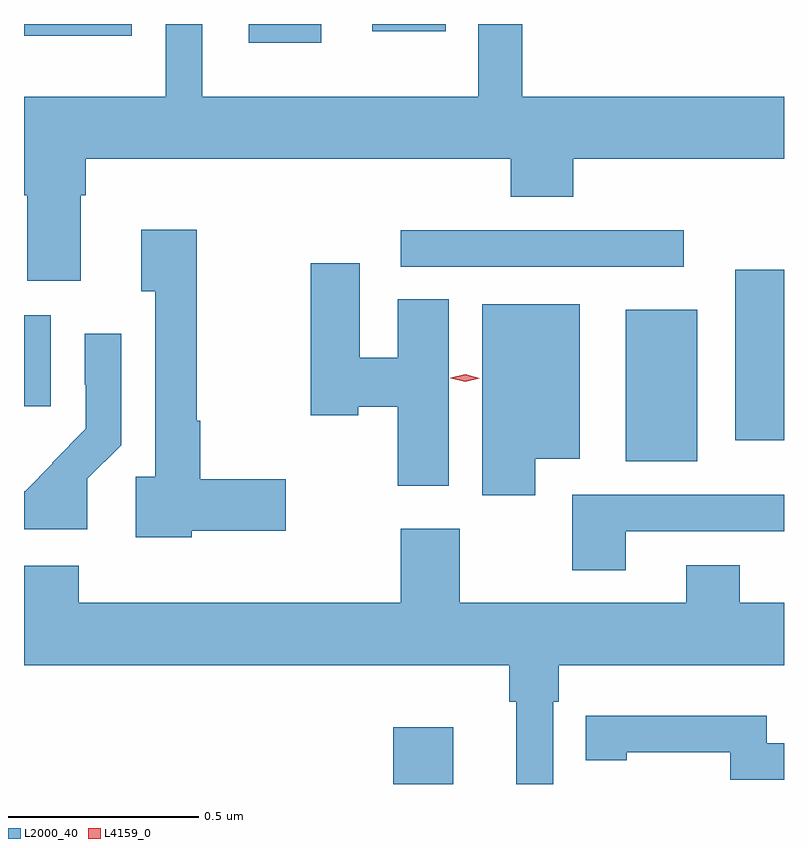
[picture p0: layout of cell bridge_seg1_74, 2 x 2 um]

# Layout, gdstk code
import gdstk
lib = gdstk.Library(unit=1e-6, precision=1e-09)
def R(c, l, rs):  # rectangles x0, y0, x1, y1
    for r in rs: c.add(gdstk.rectangle(r[:2], r[2:], *l))
def P(c, l, *ps):  # polygons
    for p in ps: c.add(gdstk.Polygon(p, *l))
L2000_40 = (2000, 40)
L4159_0 = (4159, 0)

bridge_seg1_74 = lib.new_cell('bridge_seg1_74')
R(bridge_seg1_74, L2000_40, [(539.198,572.731,539.356,572.881), (539.81,573.581,539.998,573.979), (540.098,573.636,540.226,574.084), (538.226,573.725,538.297,573.964), (539.217,574.092,539.962,574.188), (538.818,574.682,539.008,574.731), (538.226,574.7,538.509,574.731), (539.142,574.712,539.336,574.731)])
P(bridge_seg1_74, L2000_40, [(538.375,574.28),(538.388,574.28),(538.388,574.376),(539.507,574.376),(539.507,574.277),(539.672,574.277),(539.672,574.376),(540.226,574.376),(540.226,574.54),(539.537,574.54),(539.537,574.731),(539.421,574.731),(539.421,574.54),(538.695,574.54),(538.695,574.731),(538.599,574.731),(538.599,574.54),(538.226,574.54),(538.226,574.28),(538.235,574.28),(538.235,574.056),(538.375,574.056)],
  [(538.668,573.398),(538.915,573.398),(538.915,573.533),(538.69,573.533),(538.69,573.687),(538.681,573.687),(538.681,574.189),(538.535,574.189),(538.535,574.028),(538.572,574.028),(538.572,573.54),(538.52,573.54),(538.52,573.38),(538.668,573.38)],
  [(539.344,574.007),(539.21,574.007),(539.21,573.853),(539.11,573.853),(539.11,574.102),(538.981,574.102),(538.981,573.701),(539.106,573.701),(539.106,573.724),(539.21,573.724),(539.21,573.516),(539.344,573.516)],
  [(539.572,573.587),(539.689,573.587),(539.689,573.994),(539.432,573.994),(539.432,573.491),(539.572,573.491)],
  [(538.393,573.534),(538.482,573.623),(538.482,573.916),(538.386,573.916),(538.386,573.782),(538.389,573.782),(538.389,573.666),(538.3,573.577),(538.302,573.575),(538.229,573.502),(538.226,573.502),(538.226,573.402),(538.393,573.402)],
  [(539.809,573.396),(540.226,573.396),(540.226,573.492),(539.669,573.492),(539.669,573.294),(539.809,573.294)],
  [(539.619,572.948),(539.633,572.948),(539.633,573.044),(540.226,573.044),(540.226,573.208),(540.109,573.208),(540.109,573.307),(539.969,573.307),(539.969,573.208),(539.373,573.208),(539.373,573.403),(539.218,573.403),(539.218,573.208),(538.37,573.208),(538.37,573.306),(538.226,573.306),(538.226,573.044),(539.503,573.044),(539.503,572.948),(539.522,572.948),(539.522,572.731),(539.619,572.731)],
  [(540.226,572.838),(540.18,572.838),(540.18,572.911),(539.812,572.911),(539.812,572.91),(539.704,572.91),(539.704,572.794),(539.812,572.794),(539.812,572.814),(540.084,572.814),(540.084,572.742),(540.226,572.742)])
P(bridge_seg1_74, L4159_0, [(539.387,573.789),(539.349,573.799),(539.348,573.799),(539.349,573.8),(539.387,573.809),(539.425,573.799),(539.425,573.799),(539.425,573.799)])

lib.write_gds('bridge_seg1_74.gds')
